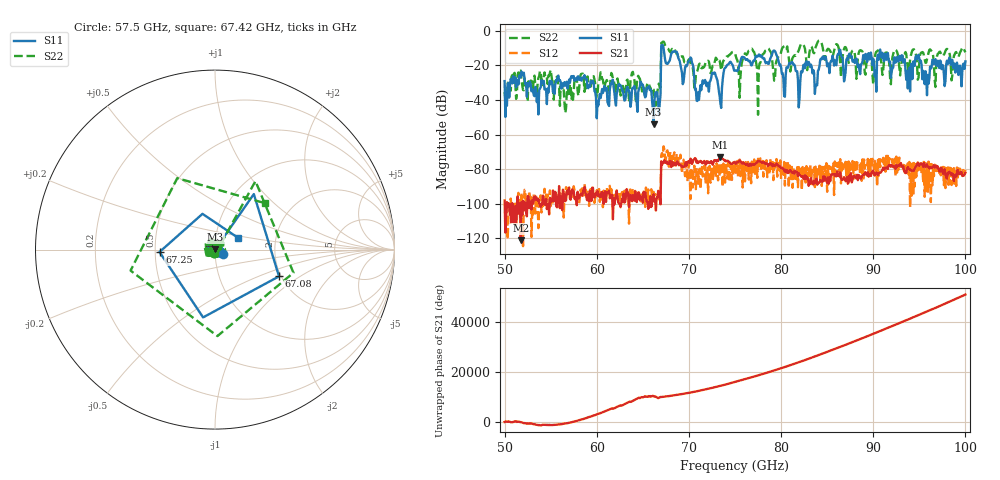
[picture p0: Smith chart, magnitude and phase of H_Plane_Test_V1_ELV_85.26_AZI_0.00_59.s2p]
! 11/27/2026 8:41:24 AM
! C:\ANRITSUVNA\TEMP\TEMP.S2P
! CHANNEL.1
! TR.MEASUREMENT
! RAW.DATA
# HZ S RI R 50.0
! FREQ.HZ  S11RE  S11IM  S21RE  S21IM  S12RE  S12IM  S22RE  S22IM
!; PortSelection: Port_12
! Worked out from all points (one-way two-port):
!   601 points, 50 GHz to 100 GHz, reference 50 ohm
!   highest |S21| = -73.19 dB at 73.42 GHz (marker M1); lowest = -121.0 dB at 51.75 GHz (marker M2)
!   lowest |S11| = -54.0 dB at 66.17 GHz (marker M3), VSWR 1.00, Z = 50.1 + j0.145 ohm
!   |S11| at or under -10 dB: start of sweep to 67 GHz; 67.24 GHz to end of sweep
!   |S22| runs from -48.5 to -5.6 dB; largest |S21 - S12| = 0.00049
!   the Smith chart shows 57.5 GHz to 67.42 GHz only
!   S11 on the Smith chart (normalised r, x): 57.5 GHz: 1.09, -0.05; 67.08 GHz: 1.95, -0.68; 67.25 GHz: 0.53, -0.02; 67.42 GHz: 1.29, +0.17
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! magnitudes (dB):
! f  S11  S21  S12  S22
! 50 GHz  -29.1  -98.1  -105.6  -35.3
! 51.75 GHz  -26.9  -121.0  -98.6  -23.0
! 53.42 GHz  -34.9  -97.7  -95.0  -34.8
! 57.5 GHz  -26.2  -92.7  -89.8  -34.5
! 58.42 GHz  -27.1  -95.3  -91.1  -24.8
! 60.17 GHz  -43.1  -95.6  -93.2  -30.1
! 66.17 GHz  -54.0  -94.4  -93.1  -34.0
! 66.67 GHz  -41.8  -92.5  -94.6  -31.6
! 67.08 GHz  -8.3  -77.4  -70.7  -6.8
! 67.25 GHz  -10.2  -76.2  -66.8  -6.3
! 67.42 GHz  -16.7  -76.1  -74.0  -8.4
! 70.17 GHz  -15.4  -73.9  -97.2  -18.6
! 70.67 GHz  -34.0  -73.5  -84.4  -32.7
! 73.42 GHz  -41.9  -73.2  -84.0  -19.8
! 75 GHz  -23.1  -76.0  -75.7  -13.0
! 77.58 GHz  -13.8  -75.4  -76.4  -21.7
! 78.5 GHz  -18.2  -76.9  -84.5  -10.8
! 79.33 GHz  -11.8  -78.1  -79.1  -28.8
! 80.25 GHz  -28.0  -79.8  -83.0  -9.4
! 83.42 GHz  -24.6  -87.7  -80.5  -10.8
! 91.67 GHz  -16.8  -77.7  -78.3  -15.2
! 100 GHz  -17.7  -82.1  -80.3  -12.5
